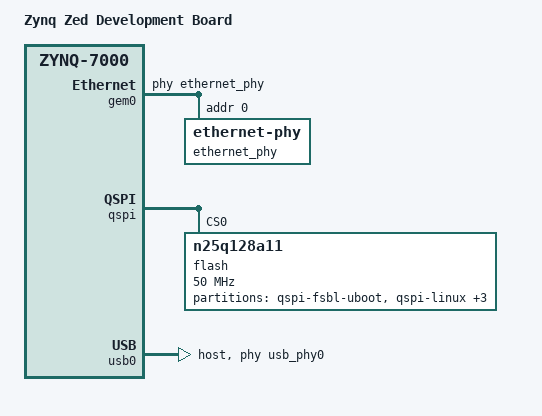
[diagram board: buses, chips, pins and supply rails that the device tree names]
/ {
	model = "Zynq Zed Development Board";
	compatible = "xlnx,zynq-zed", "xlnx,zynq-7000";

	usb_phy0: phy0@e0002000 {
		compatible = "ulpi-phy";
		#phy-cells = <0>;
		reg = <0xe0002000 0x1000>;
		view-port = <0x0170>;
		drv-vbus;
	};
};

&clkc {
	ps-clk-frequency = <33333333>;
};

&gem0 {
	phy-handle = <&ethernet_phy>;
	ethernet_phy: ethernet-phy@0 {
		reg = <0>;
		device_type = "ethernet-phy";
	};
};

&qspi {
	u-boot,dm-pre-reloc;
	is-dual = <0>;
	num-cs = <1>;
	flash@0 {
		compatible = "n25q128a11";
		reg = <0x0>;
		spi-tx-bus-width = <1>;
		spi-rx-bus-width = <4>;
		spi-max-frequency = <50000000>;
		#address-cells = <1>;
		#size-cells = <1>;
		partition@qspi-fsbl-uboot {
			label = "qspi-fsbl-uboot";
			reg = <0x0 0x100000>;
		};
		partition@qspi-linux {
			label = "qspi-linux";
			reg = <0x100000 0x500000>;
		};
		partition@qspi-device-tree {
			label = "qspi-device-tree";
			reg = <0x600000 0x20000>;
		};
		partition@qspi-rootfs {
			label = "qspi-rootfs";
			reg = <0x620000 0x5E0000>;
		};
		partition@qspi-bitstream {
			label = "qspi-bitstream";
			reg = <0xC00000 0x400000>;
		};
	};
};

&sdhci0 {
	u-boot,dm-pre-reloc;
};

&uart1 {
	u-boot,dm-pre-reloc;
};

&usb0 {
	dr_mode = "host";
	usb-phy = <&usb_phy0>;
};
